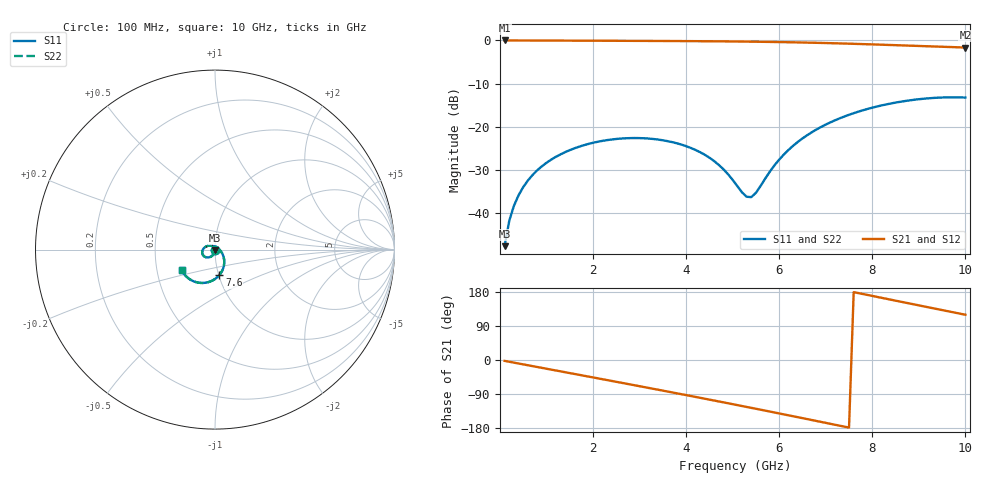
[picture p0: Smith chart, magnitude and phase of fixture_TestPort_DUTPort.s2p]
# Hz S MA R 50.0
!freq magS11 angS11 magS21 angS21 magS12 angS12 magS22 angS22
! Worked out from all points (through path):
!   100 points, 100 MHz to 10 GHz, reference 50 ohm
!   highest |S21| = 0.00 dB at 100 MHz (marker M1); lowest = -1.6 dB at 10 GHz (marker M2)
!   group delay of S21, straight-line fit = 67 ps
!   lowest |S11| = -47.7 dB at 100 MHz (marker M3), VSWR 1.01, Z = 50 - j0.412 ohm
!   |S11| at or under -10 dB: start of sweep to end of sweep
!   |S22| runs from -47.7 to -13.2 dB; largest |S21 - S12| = 0
!   S11 on the Smith chart (normalised r, x): 100 MHz: 1.00, -0.01; 7.6 GHz: 1.01, -0.29; 10 GHz: 0.67, -0.16
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1e8  0.004125 -93.2  0.9997 -2.3  0.9997 -2.3  0.004125 -93.2
2e8  0.008135 -96.0  0.9994 -4.6  0.9994 -4.6  0.008135 -96.0
3e8  0.01211 -98.5  0.9991 -6.9  0.9991 -6.9  0.01211 -98.5
4e8  0.01606 -100.9  0.9988 -9.2  0.9988 -9.2  0.01606 -100.9
6e8  0.0238 -105.7  0.9982 -13.8  0.9982 -13.8  0.0238 -105.7
8e8  0.03122 -110.5  0.9976 -18.4  0.9976 -18.4  0.03122 -110.5
1.1e9  0.04152 -117.5  0.9965 -25.3  0.9965 -25.3  0.04152 -117.5
1.8e9  0.061 -134.0  0.9937 -41.4  0.9937 -41.4  0.061 -134.0
2.6e9  0.0729 -153.4  0.9902 -59.9  0.9902 -59.9  0.0729 -153.4
3.4e9  0.07096 -173.9  0.9861 -78.5  0.9861 -78.5  0.07096 -173.9
3.9e9  0.06201 172.0  0.983 -90.3  0.983 -90.3  0.06201 172.0
4.4e9  0.04734 155.2  0.9792 -102.1  0.9792 -102.1  0.04734 155.2
4.8e9  0.03219 135.9  0.9754 -111.7  0.9754 -111.7  0.03219 135.9
5.1e9  0.02048 109.0  0.9719 -119.0  0.9719 -119.0  0.02048 109.0
5.3e9  0.01542 73.5  0.9693 -123.9  0.9693 -123.9  0.01542 73.5
5.4e9  0.01528 50.0  0.9678 -126.3  0.9678 -126.3  0.01528 50.0
6.1e9  0.04767 -29.9  0.9555 -143.5  0.9555 -143.5  0.04767 -29.9
6.7e9  0.08627 -53.3  0.9413 -158.4  0.9413 -158.4  0.08627 -53.3
7.6e9  0.1436 -80.2  0.9139 179.1  0.9139 179.1  0.1436 -80.2
8.4e9  0.186 -102.2  0.8853 159.1  0.8853 159.1  0.186 -102.2
9.2e9  0.2133 -124.5  0.8557 139.2  0.8557 139.2  0.2133 -124.5
1e10  0.2176 -148.1  0.8275 119.4  0.8275 119.4  0.2176 -148.1
